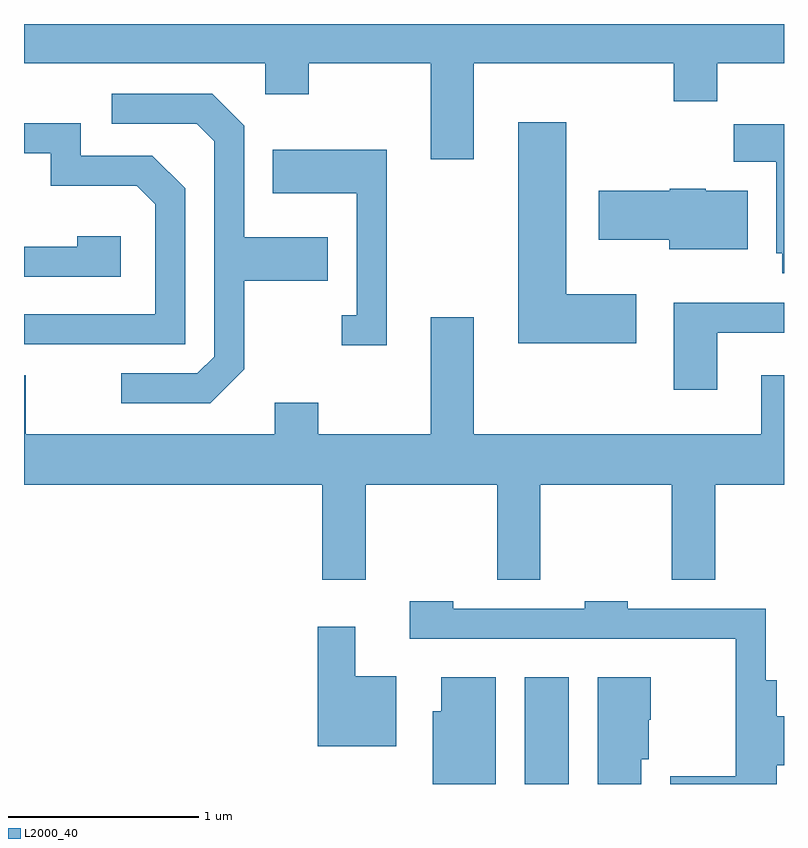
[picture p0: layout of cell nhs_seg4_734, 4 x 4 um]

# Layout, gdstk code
import gdstk
lib = gdstk.Library(unit=1e-6, precision=1e-09)
def R(c, l, rs):  # rectangles x0, y0, x1, y1
    for r in rs: c.add(gdstk.rectangle(r[:2], r[2:], *l))
def P(c, l, *ps):  # polygons
    for p in ps: c.add(gdstk.Polygon(p, *l))
L2000_40 = (2000, 40)

nhs_seg4_734 = lib.new_cell('nhs_seg4_734')
R(nhs_seg4_734, L2000_40, [(208.246,1361.982,208.479,1362.544)])
P(nhs_seg4_734, L2000_40, [(207.979,1365.776),(209.031,1365.776),(209.031,1365.576),(209.259,1365.576),(209.259,1365.776),(209.611,1365.776),(209.611,1365.982),(205.611,1365.982),(205.611,1365.776),(206.881,1365.776),(206.881,1365.611),(207.109,1365.611),(207.109,1365.776),(207.751,1365.776),(207.751,1365.271),(207.979,1365.271)],
  [(206.769,1364.164),(206.769,1364.631),(207.209,1364.631),(207.209,1364.859),(206.769,1364.859),(206.769,1365.447),(206.602,1365.614),(206.073,1365.614),(206.073,1365.456),(206.519,1365.456),(206.611,1365.364),(206.611,1364.232),(206.524,1364.144),(206.123,1364.144),(206.123,1363.986),(206.592,1363.986)],
  [(208.834,1364.559),(208.464,1364.559),(208.464,1365.464),(208.211,1365.464),(208.211,1364.301),(208.834,1364.301)],
  [(206.459,1365.117),(206.287,1365.289),(205.909,1365.289),(205.909,1365.459),(205.611,1365.459),(205.611,1365.301),(205.751,1365.301),(205.751,1365.131),(206.204,1365.131),(206.301,1365.034),(206.301,1364.454),(205.611,1364.454),(205.611,1364.296),(206.459,1364.296)],
  [(209.611,1365.454),(209.346,1365.454),(209.346,1365.256),(209.571,1365.256),(209.571,1364.776),(209.601,1364.776),(209.601,1364.671),(209.611,1364.671)],
  [(207.519,1365.319),(206.921,1365.319),(206.921,1365.091),(207.361,1365.091),(207.361,1364.449),(207.283,1364.449),(207.283,1364.291),(207.519,1364.291)],
  [(209.419,1365.104),(209.2,1365.104),(209.2,1365.114),(209.01,1365.114),(209.01,1365.104),(208.636,1365.104),(208.636,1364.846),(209.006,1364.846),(209.006,1364.796),(209.419,1364.796)],
  [(206.119,1364.864),(205.891,1364.864),(205.891,1364.809),(205.611,1364.809),(205.611,1364.651),(206.119,1364.651)],
  [(209.259,1364.356),(209.611,1364.356),(209.611,1364.514),(209.031,1364.514),(209.031,1364.056),(209.259,1364.056)],
  [(207.409,1363.556),(208.101,1363.556),(208.101,1363.056),(208.329,1363.056),(208.329,1363.556),(209.021,1363.556),(209.021,1363.056),(209.249,1363.056),(209.249,1363.556),(209.611,1363.556),(209.611,1364.134),(209.491,1364.134),(209.491,1363.824),(207.979,1363.824),(207.979,1364.439),(207.751,1364.439),(207.751,1363.824),(207.159,1363.824),(207.159,1363.989),(206.931,1363.989),(206.931,1363.824),(205.619,1363.824),(205.619,1364.134),(205.611,1364.134),(205.611,1363.556),(207.181,1363.556),(207.181,1363.056),(207.409,1363.056)],
  [(209.574,1362.081),(209.611,1362.081),(209.611,1362.339),(209.574,1362.339),(209.574,1362.529),(209.514,1362.529),(209.514,1362.904),(208.789,1362.904),(208.789,1362.944),(208.561,1362.944),(208.561,1362.904),(207.869,1362.904),(207.869,1362.944),(207.641,1362.944),(207.641,1362.746),(209.356,1362.746),(209.356,1362.024),(209.013,1362.024),(209.013,1361.982),(209.574,1361.982)],
  [(207.569,1362.549),(207.354,1362.549),(207.354,1362.809),(207.156,1362.809),(207.156,1362.181),(207.569,1362.181)],
  [(208.094,1362.544),(207.806,1362.544),(207.806,1362.364),(207.761,1362.364),(207.761,1361.982),(208.094,1361.982)],
  [(208.859,1362.111),(208.899,1362.111),(208.899,1362.32),(208.909,1362.32),(208.909,1362.544),(208.631,1362.544),(208.631,1361.982),(208.859,1361.982)])

lib.write_gds('nhs_seg4_734.gds')
